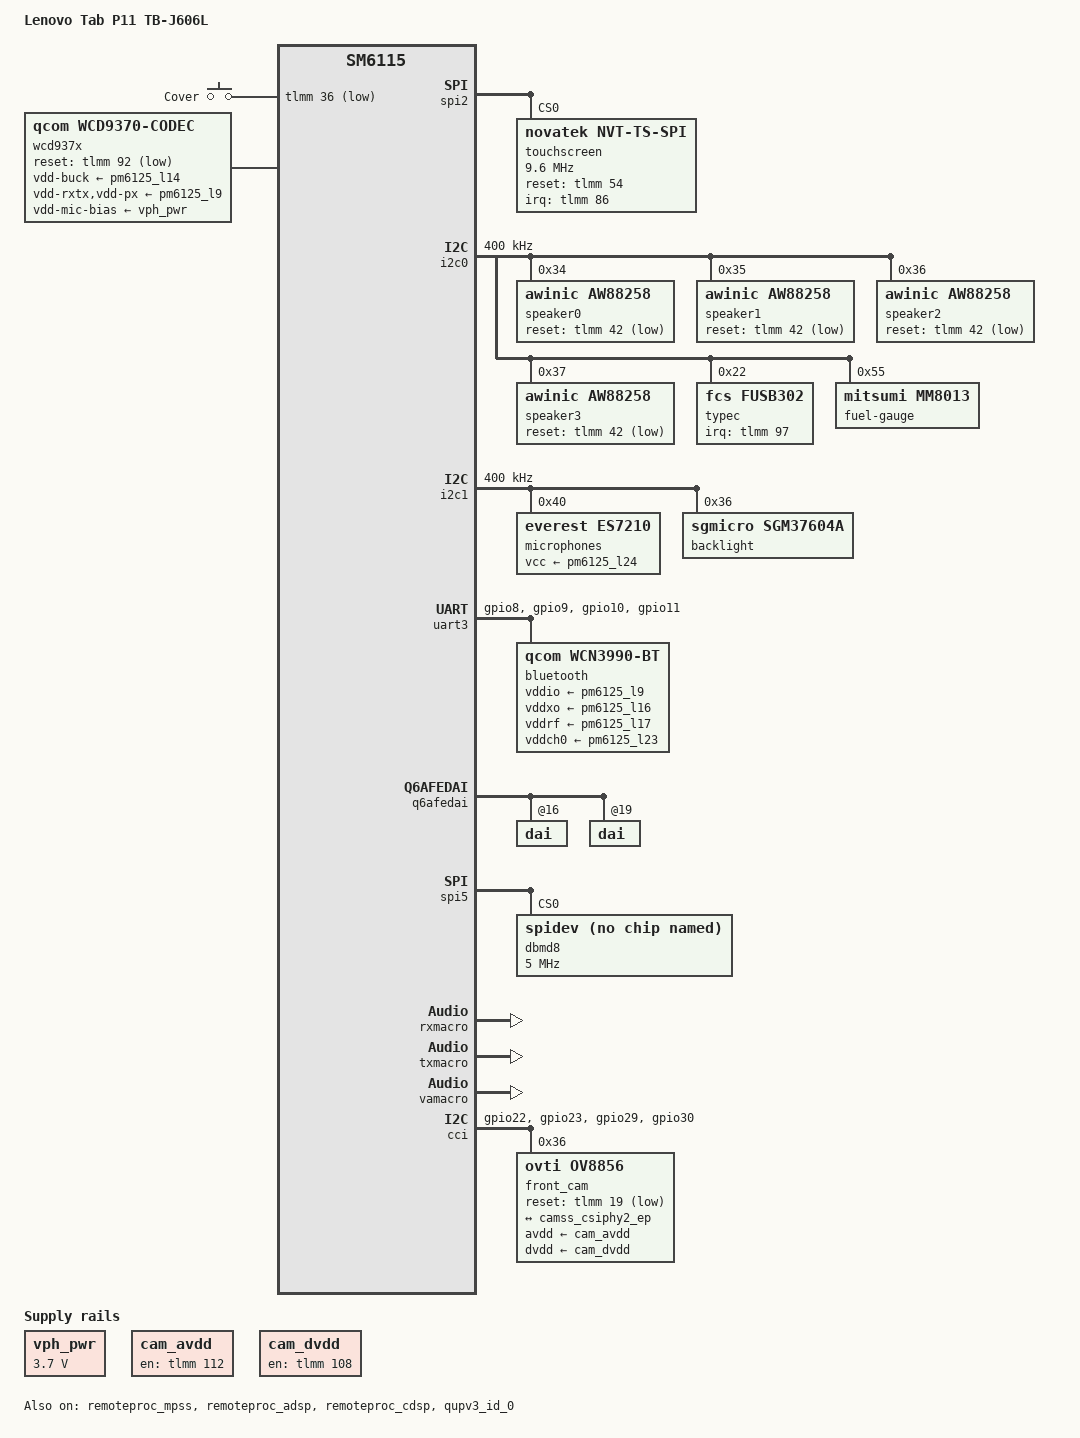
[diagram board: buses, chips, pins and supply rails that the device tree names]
// SPDX-License-Identifier: BSD-3-Clause
/* Lenovo Tab P11 TB-J606L (LTE). Derived from the upstream J606F tree. */
#include <dt-bindings/input/gpio-keys.h>
#include <dt-bindings/sound/qcom,q6afe.h>
#include <dt-bindings/sound/qcom,q6asm.h>
#include <dt-bindings/usb/pd.h>
#include "sm6115p-lenovo-j606f.dts"

/ {
	model = "Lenovo Tab P11 TB-J606L";
	compatible = "lenovo,j606l", "qcom,sm6115p", "qcom,sm6115";
	/* Measured on the lab unit: SoC 444, platform 0x10000; board 34/3. */
	qcom,msm-id = <444 0x10000>;
	qcom,board-id = <34 3>;

	aliases {
		serial1 = &uart3;
	};

	/* Four AW88258 speaker amplifiers on the LPASS primary MI2S port
	 * (data line 1). The microphones come from the DBMD8 voice processor on
	 * the secondary port (data line 1, the DBMD8 drives the clocks); the
	 * WCD937x biases them while something records. */
	sound {
		compatible = "qcom,qrb4210-rb2-sndcard";
		model = "Lenovo-TB-J606L";
		pinctrl-0 = <&lpi_i2s1_active>, <&lpi_i2s2_active>;
		pinctrl-names = "default";
		/* The analog microphones on the DBMD8 take their bias from the
		 * WCD937x: on while anything records from them. */
		aux-devs = <&wcd937x>;
		audio-routing = "MIC", "MIC BIAS1",
				"MIC", "MIC BIAS3";

		mm1-dai-link {
			link-name = "MultiMedia1";

			cpu {
				sound-dai = <&q6asmdai MSM_FRONTEND_DAI_MULTIMEDIA1>;
			};
		};

		mm2-dai-link {
			link-name = "MultiMedia2";

			cpu {
				sound-dai = <&q6asmdai MSM_FRONTEND_DAI_MULTIMEDIA2>;
			};
		};

		speaker-dai-link {
			link-name = "Speaker Playback";

			cpu {
				sound-dai = <&q6afedai PRIMARY_MI2S_RX>;
			};

			platform {
				sound-dai = <&q6routing>;
			};

			codec {
				sound-dai = <&speaker0>, <&speaker1>, <&speaker2>, <&speaker3>;
			};
		};

		mic-dai-link {
			link-name = "Mic Capture";

			cpu {
				sound-dai = <&q6afedai SECONDARY_MI2S_TX>;
			};

			platform {
				sound-dai = <&q6routing>;
			};

			codec {
				sound-dai = <&microphones>;
			};
		};
	};

	/* Hall sensor for the folio cover, as the stock hall_switch. */
	gpio-keys-lid {
		compatible = "gpio-keys";
		pinctrl-0 = <&hall_int_default>;
		pinctrl-names = "default";

		switch-lid {
			label = "Cover";
			gpios = <&tlmm 36 GPIO_ACTIVE_LOW>;
			linux,input-type = <EV_SW>;
			linux,code = <SW_LID>;
			debounce-interval = <15>;
			wakeup-source;
			/* Wake when the cover opens, not on the closing edge. */
			wakeup-event-action = <EV_ACT_DEASSERTED>;
		};
	};
};

/* Only the HS PHY is wired. Without UTMI as the pipe clock the core comes
 * up only after a fastboot session left it clocked (26 October 2026). */
&usb { qcom,select-utmi-as-pipe-clk; };

/* The modem runs the WLAN firmware. haltia-firmware copies the stock split
 * images from modem_b; rmtfs serves copies of the EFS partitions read-only. */
&remoteproc_mpss {
	firmware-name = "qcom/sm6115/LENOVO/J606L/modem.mdt";
	status = "okay";
};

/* Display through MSM DRM and the upstream J606F panel driver (the J606L
 * has the same BOE NT36523W, as its stock command line names). simplefb
 * shows the bootloader picture until msm takes over. The GPU loads the
 * stock zap shader that haltia-firmware copies from vendor_b. */
&gpu_zap_shader {
	firmware-name = "qcom/sm6115/LENOVO/J606L/a610_zap.mdt";
};

/* ADSP runs the audio services (APR: q6afe, q6asm) and the sensors; CDSP
 * is the compute DSP. Both boot the stock split images from modem_b. */
&remoteproc_adsp {
	firmware-name = "qcom/sm6115/LENOVO/J606L/adsp.mdt";
	status = "okay";
};

&remoteproc_cdsp {
	firmware-name = "qcom/sm6115/LENOVO/J606L/cdsp.mdt";
	status = "okay";
};

/* Touch: Novatek NT36523 (TDDI, no flash) on QUP SE2 SPI, chip select 1,
 * as in the stock overlay. The driver loads novatek_ts_fw.bin from the
 * stock vendor partition at every start. */
&qupv3_id_0 { status = "okay"; };

&spi2 {
	/* GPI DMA transfers stalled the touch thread in spi_transfer_one_message;
	 * without dmas the GENI controller uses FIFO and SE DMA. */
	/delete-property/ dmas;
	/delete-property/ dma-names;
	status = "okay";

	touchscreen@0 {
		compatible = "novatek,NVT-ts-spi";
		reg = <0>;
		/* The NT36523W is touch and display in one: turning the panel off
		 * resets the touch side, so the driver follows the panel and loads
		 * the touch firmware again whenever it comes back on. */
		panel = <&panel>;
		spi-max-frequency = <9600000>;
		interrupts-extended = <&tlmm 86 IRQ_TYPE_EDGE_RISING>;
		reset-gpios = <&tlmm 54 GPIO_ACTIVE_HIGH>;
		irq-gpios = <&tlmm 86 GPIO_ACTIVE_HIGH>;
		firmware-name = "novatek_ts_fw.bin";
		pinctrl-0 = <&ts_int_default>;
		pinctrl-names = "default";
		novatek,swrst-n8-addr = <0x3f0fe>;
		novatek,spi-rd-fast-addr = <0x3f310>;
		novatek,event-buf-addr = <0x2fe00>;
		novatek,coords-12bit;
		/* A double tap wakes the tablet from sleep (gesture mode). */
		novatek,double-tap-wake;
		touchscreen-size-x = <1200>;
		touchscreen-size-y = <2000>;
	};
};

&tlmm {
	/* The stock "pmx_ts_int_active": the interrupt line needs a pull-up. */
	ts_int_default: ts-int-default-state {
		pins = "gpio86";
		function = "gpio";
		drive-strength = <8>;
		bias-pull-up;
	};
};

/* Battery gauge on QUP SE0 I2C, as in the stock overlay. GENI I2C needs
 * its GPI DMA channels to probe. */
&gpi_dma0 { status = "okay"; };

&i2c0 {
	clock-frequency = <400000>;
	status = "okay";

	/* The amplifiers share reset GPIO 42; awinic,channel picks each one's
	 * section of the stock ACF profile (left/right on SD0, then SD1). */
	speaker0: audio-codec@34 {
		compatible = "awinic,aw88258";
		reg = <0x34>;
		reset-gpios = <&tlmm 42 GPIO_ACTIVE_LOW>;
		awinic,channel = <0>;
		sound-name-prefix = "Speaker 0";
		#sound-dai-cells = <0>;
	};

	speaker1: audio-codec@35 {
		compatible = "awinic,aw88258";
		reg = <0x35>;
		reset-gpios = <&tlmm 42 GPIO_ACTIVE_LOW>;
		awinic,channel = <1>;
		sound-name-prefix = "Speaker 1";
		#sound-dai-cells = <0>;
	};

	speaker2: audio-codec@36 {
		compatible = "awinic,aw88258";
		reg = <0x36>;
		reset-gpios = <&tlmm 42 GPIO_ACTIVE_LOW>;
		awinic,channel = <2>;
		sound-name-prefix = "Speaker 2";
		#sound-dai-cells = <0>;
	};

	speaker3: audio-codec@37 {
		compatible = "awinic,aw88258";
		reg = <0x37>;
		reset-gpios = <&tlmm 42 GPIO_ACTIVE_LOW>;
		awinic,channel = <3>;
		sound-name-prefix = "Speaker 3";
		#sound-dai-cells = <0>;
	};

	/* USB-C port controller, as the stock fusb302@22. A sink only for now:
	 * its power supply tells the shell when a charger is plugged in. */
	typec@22 {
		compatible = "fcs,fusb302";
		reg = <0x22>;
		interrupts-extended = <&tlmm 97 IRQ_TYPE_LEVEL_LOW>;
		pinctrl-0 = <&fusb302_int_default>;
		pinctrl-names = "default";

		connector {
			compatible = "usb-c-connector";
			label = "USB-C";
			power-role = "sink";
			data-role = "device";
			self-powered;
			sink-pdos = <PDO_FIXED(5000, 2000, PDO_FIXED_USB_COMM)>;
			op-sink-microwatt = <10000000>;
		};
	};

	fuel-gauge@55 {
		compatible = "mitsumi,mm8013";
		reg = <0x55>;
	};
};

/* Backlight: SGM37604A on QUP SE1 I2C; PMI632 GPIO 6 enables it (the
 * bootloader leaves it on). */
&i2c1 {
	clock-frequency = <400000>;
	status = "okay";

	/* An ADC on the secondary MI2S data line 0 (Lenovo's AEC reference path,
	 * not the microphones); vcc is L24, shared with the UFS. */
	microphones: audio-codec@40 {
		compatible = "everest,es7210";
		reg = <0x40>;
		vcc-supply = <&pm6125_l24>;
		#sound-dai-cells = <0>;
	};

	backlight@36 {
		compatible = "sgmicro,sgm37604a";
		reg = <0x36>;
	};
};

/* Bluetooth: the WCN3990 on QUP SE3 high-speed UART, supplies as in the
 * stock bt_wcn3990 node. Firmware comes from linux-firmware-qca. */
&uart3 {
	interrupts-extended = <&intc GIC_SPI 330 IRQ_TYPE_LEVEL_HIGH>,
			      <&tlmm 11 IRQ_TYPE_EDGE_FALLING>;
	pinctrl-0 = <&uart3_default>;
	pinctrl-1 = <&uart3_sleep>;
	pinctrl-names = "default", "sleep";
	status = "okay";

	bluetooth {
		compatible = "qcom,wcn3990-bt";
		vddio-supply = <&pm6125_l9>;
		vddxo-supply = <&pm6125_l16>;
		vddrf-supply = <&pm6125_l17>;
		vddch0-supply = <&pm6125_l23>;
		max-speed = <3200000>;
	};
};

&tlmm {
	fusb302_int_default: fusb302-int-default-state {
		pins = "gpio97";
		function = "gpio";
		drive-strength = <2>;
		bias-pull-up;
	};

	hall_int_default: hall-int-default-state {
		pins = "gpio36";
		function = "gpio";
		drive-strength = <6>;
		bias-pull-up;
	};

	uart3_default: uart3-default-state {
		cts-pins {
			pins = "gpio8";
			function = "qup3";
			drive-strength = <2>;
			bias-bus-hold;
		};

		rts-pins {
			pins = "gpio9";
			function = "qup3";
			drive-strength = <2>;
			bias-disable;
		};

		tx-pins {
			pins = "gpio10";
			function = "qup3";
			drive-strength = <2>;
			bias-disable;
		};

		rx-pins {
			pins = "gpio11";
			function = "qup3";
			drive-strength = <2>;
			bias-pull-up;
		};
	};

	uart3_sleep: uart3-sleep-state {
		cts-pins {
			pins = "gpio8";
			function = "gpio";
			drive-strength = <2>;
			bias-bus-hold;
		};

		rts-pins {
			pins = "gpio9";
			function = "gpio";
			drive-strength = <2>;
			bias-pull-down;
		};

		tx-pins {
			pins = "gpio10";
			function = "gpio";
			drive-strength = <2>;
			bias-pull-up;
		};

		rx-pins {
			pins = "gpio11";
			function = "gpio";
			drive-strength = <2>;
			bias-pull-up;
		};
	};
};

&q6afedai {
	dai@16 {
		reg = <PRIMARY_MI2S_RX>;
		qcom,sd-lines = <1>;
	};

	dai@19 {
		reg = <SECONDARY_MI2S_TX>;
		qcom,sd-lines = <1>;
	};
};

&lpass_tlmm {
	lpi_i2s2_active: lpi-i2s2-active-state {
		sck-pins {
			pins = "gpio10";
			function = "i2s2_clk";
			drive-strength = <8>;
			bias-disable;
		};

		ws-pins {
			pins = "gpio11";
			function = "i2s2_ws";
			drive-strength = <8>;
			bias-disable;
		};

		data-pins {
			pins = "gpio12", "gpio13";
			function = "i2s2_data";
			drive-strength = <8>;
			bias-disable;
		};
	};

	lpi_i2s1_active: lpi-i2s1-active-state {
		sck-pins {
			pins = "gpio6";
			function = "i2s1_clk";
			drive-strength = <8>;
			bias-disable;
			output-high;
		};

		ws-pins {
			pins = "gpio7";
			function = "i2s1_ws";
			drive-strength = <8>;
			bias-disable;
			output-high;
		};

		data-pins {
			pins = "gpio8", "gpio9";
			function = "i2s1_data";
			drive-strength = <8>;
			bias-disable;
			output-high;
		};
	};
};

/* The touch half of the TDDI chip needs it powered and out of reset while
 * the display sleeps, to see the double tap that wakes the tablet. */
&panel {
	novatek,tddi-touch-wake;
};

/* The DSP Group DBMD8 voice processor in front of the microphones. There is
 * no kernel driver yet: haltia-dbmd8 drives it through spidev. */
&spi5 {
	status = "okay";

	dbmd8@0 {
		compatible = "rohm,dh2228fv";
		reg = <0>;
		spi-max-frequency = <5000000>;
	};
};

/* J606F reserves gpio14-17; on the J606L they are SPI5 to the DBMD8 voice
 * processor, as the stock kernel uses them. */
&tlmm {
	/delete-property/ gpio-reserved-ranges;
};

/* LPASS codec macros and SoundWire, as for the QRB4210 RB2 (Alexey Klimov's
 * sm6115 LPASS series), for the WCD937x. */
&soc {
	rxmacro: codec@a600000 {
		compatible = "qcom,sm6115-lpass-rx-macro";
		reg = <0x0 0xa600000 0x0 0x1000>;
		clocks = <&q6afecc LPASS_CLK_ID_RX_CORE_MCLK LPASS_CLK_ATTRIBUTE_COUPLE_NO>,
			 <&q6afecc LPASS_CLK_ID_RX_CORE_NPL_MCLK LPASS_CLK_ATTRIBUTE_COUPLE_NO>,
			 <&q6afecc LPASS_HW_DCODEC_VOTE LPASS_CLK_ATTRIBUTE_COUPLE_NO>,
			 <&vamacro>;
		clock-names = "mclk", "npl", "dcodec", "fsgen";
		assigned-clocks = <&q6afecc LPASS_CLK_ID_RX_CORE_MCLK LPASS_CLK_ATTRIBUTE_COUPLE_NO>,
				  <&q6afecc LPASS_CLK_ID_RX_CORE_NPL_MCLK LPASS_CLK_ATTRIBUTE_COUPLE_NO>;
		assigned-clock-rates = <22579200>, <22579200>;
		#clock-cells = <0>;
		clock-output-names = "mclk";
		#sound-dai-cells = <1>;
	};

	swr1: soundwire@a610000 {
		compatible = "qcom,soundwire-v1.6.0";
		reg = <0x0 0x0a610000 0x0 0x2000>;
		interrupts = <GIC_SPI 297 IRQ_TYPE_LEVEL_HIGH>;
		clocks = <&rxmacro>;
		clock-names = "iface";
		resets = <&lpass_audiocc 0>;
		reset-names = "swr_audio_cgcr";
		pinctrl-0 = <&lpass_rx_swr_active>;
		pinctrl-names = "default";
		label = "RX";
		qcom,din-ports = <0>;
		qcom,dout-ports = <5>;
		qcom,ports-sinterval-low =	/bits/ 8 <0x03 0x1f 0x1f 0x07 0x00>;
		qcom,ports-offset1 =		/bits/ 8 <0x00 0x00 0x0b 0x01 0x00>;
		qcom,ports-offset2 =		/bits/ 8 <0x00 0x00 0x0b 0x00 0x00>;
		qcom,ports-hstart =		/bits/ 8 <0xff 0x03 0xff 0xff 0xff>;
		qcom,ports-hstop =		/bits/ 8 <0xff 0x06 0xff 0xff 0xff>;
		qcom,ports-word-length =	/bits/ 8 <0x01 0x07 0x04 0xff 0xff>;
		qcom,ports-block-pack-mode =	/bits/ 8 <0xff 0x00 0x01 0xff 0xff>;
		qcom,ports-block-group-count =	/bits/ 8 <0xff 0xff 0xff 0xff 0x00>;
		qcom,ports-lane-control =	/bits/ 8 <0x01 0x00 0x00 0x00 0x00>;
		#sound-dai-cells = <1>;
		#address-cells = <2>;
		#size-cells = <0>;

		wcd937x_rx: codec@0,4 {
			compatible = "sdw20217010a00";
			reg = <0 4>;
			qcom,rx-port-mapping = <1 2 3 4 5>;
		};
	};

	txmacro: codec@a620000 {
		compatible = "qcom,sm6115-lpass-tx-macro";
		reg = <0x0 0x0a620000 0x0 0x1000>;
		clocks = <&q6afecc LPASS_CLK_ID_TX_CORE_MCLK LPASS_CLK_ATTRIBUTE_COUPLE_NO>,
			 <&q6afecc LPASS_CLK_ID_TX_CORE_NPL_MCLK LPASS_CLK_ATTRIBUTE_COUPLE_NO>,
			 <&q6afecc LPASS_HW_DCODEC_VOTE LPASS_CLK_ATTRIBUTE_COUPLE_NO>,
			 <&vamacro>;
		clock-names = "mclk", "npl", "dcodec", "fsgen";
		assigned-clocks = <&q6afecc LPASS_CLK_ID_TX_CORE_MCLK LPASS_CLK_ATTRIBUTE_COUPLE_NO>,
				  <&q6afecc LPASS_CLK_ID_TX_CORE_NPL_MCLK LPASS_CLK_ATTRIBUTE_COUPLE_NO>;
		assigned-clock-rates = <19200000>, <19200000>;
		#clock-cells = <0>;
		clock-output-names = "mclk";
		#sound-dai-cells = <1>;
	};

	lpass_audiocc: clock-controller@a6a9000 {
		compatible = "qcom,sm6115-lpassaudiocc";
		reg = <0x0 0x0a6a9000 0x0 0x1000>;
		#reset-cells = <1>;
	};

	vamacro: codec@a730000 {
		compatible = "qcom,sm6115-lpass-va-macro";
		reg = <0x0 0x0a730000 0x0 0x1000>;
		clocks = <&q6afecc LPASS_CLK_ID_TX_CORE_MCLK LPASS_CLK_ATTRIBUTE_COUPLE_NO>,
			 <&q6afecc LPASS_HW_DCODEC_VOTE LPASS_CLK_ATTRIBUTE_COUPLE_NO>,
			 <&q6afecc LPASS_CLK_ID_TX_CORE_NPL_MCLK LPASS_CLK_ATTRIBUTE_COUPLE_NO>;
		clock-names = "mclk", "dcodec", "npl";
		assigned-clocks = <&q6afecc LPASS_CLK_ID_TX_CORE_MCLK LPASS_CLK_ATTRIBUTE_COUPLE_NO>,
				  <&q6afecc LPASS_CLK_ID_TX_CORE_NPL_MCLK LPASS_CLK_ATTRIBUTE_COUPLE_NO>;
		assigned-clock-rates = <19200000>, <19200000>;
		#clock-cells = <0>;
		clock-output-names = "fsgen";
		#sound-dai-cells = <1>;
	};

	swr0: soundwire@a740000 {
		compatible = "qcom,soundwire-v1.6.0";
		reg = <0x0 0x0a740000 0x0 0x2000>;
		interrupts = <GIC_SPI 296 IRQ_TYPE_LEVEL_HIGH>,
			     <GIC_SPI 79 IRQ_TYPE_LEVEL_HIGH>;
		clocks = <&txmacro>;
		clock-names = "iface";
		resets = <&lpasscc 0>;
		reset-names = "swr_audio_cgcr";
		pinctrl-0 = <&lpass_tx_swr_active>;
		pinctrl-names = "default";
		label = "VA_TX";
		qcom,din-ports = <3>;
		qcom,dout-ports = <0>;
		qcom,ports-sinterval-low =	/bits/ 8 <0x03 0x03 0x03>;
		qcom,ports-offset1 =		/bits/ 8 <0x01 0x02 0x01>;
		qcom,ports-offset2 =		/bits/ 8 <0x00 0x00 0x00>;
		qcom,ports-hstart =		/bits/ 8 <0xff 0xff 0xff>;
		qcom,ports-hstop =		/bits/ 8 <0xff 0xff 0xff>;
		qcom,ports-word-length =	/bits/ 8 <0xff 0xff 0xff>;
		qcom,ports-block-pack-mode =	/bits/ 8 <0xff 0xff 0xff>;
		qcom,ports-block-group-count =	/bits/ 8 <0xff 0xff 0xff>;
		qcom,ports-lane-control =	/bits/ 8 <0x00 0x00 0x00>;
		#sound-dai-cells = <1>;
		#address-cells = <2>;
		#size-cells = <0>;

		wcd937x_tx: codec@0,3 {
			compatible = "sdw20217010a00";
			reg = <0 3>;
			qcom,tx-port-mapping = <1 1 2 3>;
		};
	};

	lpasscc: clock-controller@a7ec000 {
		compatible = "qcom,sm6115-lpasscc";
		reg = <0x0 0x0a7ec000 0x0 0x1000>;
		#reset-cells = <1>;
	};
};

/ {
	/* The battery rail; the WCD937x makes the mic bias from it. */
	vph_pwr: regulator-vph-pwr {
		compatible = "regulator-fixed";
		regulator-name = "vph_pwr";
		regulator-min-microvolt = <3700000>;
		regulator-max-microvolt = <3700000>;
		regulator-always-on;
		regulator-boot-on;
	};

	wcd937x: codec {
		compatible = "qcom,wcd9370-codec";
		pinctrl-0 = <&wcd_reset_n>;
		pinctrl-names = "default";
		reset-gpios = <&tlmm 92 GPIO_ACTIVE_LOW>;
		vdd-buck-supply = <&pm6125_l14>;
		vdd-rxtx-supply = <&pm6125_l9>;
		vdd-px-supply = <&pm6125_l9>;
		vdd-mic-bias-supply = <&vph_pwr>;
		qcom,micbias1-microvolt = <1800000>;
		qcom,micbias2-microvolt = <1800000>;
		qcom,micbias3-microvolt = <1800000>;
		qcom,micbias4-microvolt = <1800000>;
		qcom,mbhc-buttons-vthreshold-microvolt = <75000 150000 237000 500000 500000 500000 500000 500000>;
		qcom,rx-device = <&wcd937x_rx>;
		qcom,tx-device = <&wcd937x_tx>;
		#sound-dai-cells = <1>;
	};
};

&tlmm {
	wcd_reset_n: wcd-reset-n-state {
		pins = "gpio92";
		function = "gpio";
		drive-strength = <16>;
		output-high;
	};
};

&lpass_tlmm {
	lpass_tx_swr_active: lpass-tx-swr-active-state {
		clk-pins {
			pins = "gpio0";
			function = "swr_tx_clk";
			drive-strength = <10>;
			slew-rate = <3>;
			bias-disable;
		};

		data-pins {
			pins = "gpio1", "gpio2";
			function = "swr_tx_data";
			drive-strength = <10>;
			slew-rate = <3>;
			bias-bus-hold;
		};
	};

	lpass_rx_swr_active: lpass-rx-swr-active-state {
		clk-pins {
			pins = "gpio3";
			function = "swr_rx_clk";
			drive-strength = <10>;
			slew-rate = <3>;
			bias-disable;
		};

		data-pins {
			pins = "gpio4", "gpio5";
			function = "swr_rx_data";
			drive-strength = <10>;
			slew-rate = <3>;
			bias-bus-hold;
		};
	};
};

/* Cameras: the front OV8856 on CCI master 1 and CSIPHY2. GPIOs 112 and
 * 108 power both sensors (patch 0009 lets the TLMM drive them). */
/ {
	cam_avdd: regulator-cam-avdd {
		compatible = "regulator-fixed";
		regulator-name = "cam_avdd";
		gpio = <&tlmm 112 GPIO_ACTIVE_HIGH>;
		enable-active-high;
		startup-delay-us = <1000>;
	};

	cam_dvdd: regulator-cam-dvdd {
		compatible = "regulator-fixed";
		regulator-name = "cam_dvdd";
		gpio = <&tlmm 108 GPIO_ACTIVE_HIGH>;
		enable-active-high;
		startup-delay-us = <1000>;
	};
};

&soc {
	cci: cci@5c1b000 {
		compatible = "qcom,qcm2290-cci", "qcom,msm8996-cci";
		reg = <0x0 0x5c1b000 0x0 0x1000>;
		interrupts = <GIC_SPI 206 IRQ_TYPE_EDGE_RISING>;
		clocks = <&gcc GCC_CAMSS_TOP_AHB_CLK>, <&gcc GCC_CAMSS_CCI_0_CLK>;
		clock-names = "ahb", "cci";
		assigned-clocks = <&gcc GCC_CAMSS_CCI_0_CLK>;
		assigned-clock-rates = <37500000>;
		power-domains = <&gcc GCC_CAMSS_TOP_GDSC>;
		pinctrl-0 = <&cci0_default &cci1_default>;
		pinctrl-names = "default";
		#address-cells = <1>;
		#size-cells = <0>;

		cci_i2c0: i2c-bus@0 {
			reg = <0>;
			clock-frequency = <400000>;
			#address-cells = <1>;
			#size-cells = <0>;
		};

		cci_i2c1: i2c-bus@1 {
			reg = <1>;
			clock-frequency = <400000>;
			#address-cells = <1>;
			#size-cells = <0>;

			front_cam: camera@36 {
				compatible = "ovti,ov8856";
				reg = <0x36>;
				clocks = <&gcc GCC_CAMSS_MCLK2_CLK>;
				clock-names = "xvclk";
				assigned-clocks = <&gcc GCC_CAMSS_MCLK2_CLK>;
				assigned-clock-rates = <19200000>;
				pinctrl-0 = <&mclk2_default>;
				pinctrl-names = "default";
				reset-gpios = <&tlmm 19 GPIO_ACTIVE_LOW>;
				orientation = <0>;
				/* haltia_kit turns the picture by this and by the screen's
				 * rotation, then mirrors it. Checked on the tablet: 0 left the
				 * picture's top to the right in landscape, 270 upside down. */
				rotation = <90>;
				avdd-supply = <&cam_avdd>;
				dvdd-supply = <&cam_dvdd>;

				port {
					front_cam_ep: endpoint {
						data-lanes = <1 2 3 4>;
						link-frequencies = /bits/ 64 <360000000 180000000>;
						remote-endpoint = <&camss_csiphy2_ep>;
					};
				};
			};
		};
	};

	camss: camss@5c11000 {
		compatible = "qcom,sm6115-camss";
		reg = <0x0 0x5c11000 0x0 0x1000>,
		      <0x0 0x5c6e000 0x0 0x1000>,
		      <0x0 0x5c75000 0x0 0x1000>,
		      <0x0 0x5c52000 0x0 0x1000>,
		      <0x0 0x5c53000 0x0 0x1000>,
		      <0x0 0x5c54000 0x0 0x1000>,
		      <0x0 0x5c66000 0x0 0x400>,
		      <0x0 0x5c68000 0x0 0x400>,
		      <0x0 0x5c6f000 0x0 0x4000>,
		      <0x0 0x5c76000 0x0 0x4000>;
		reg-names = "top", "csid0", "csid1", "csiphy0", "csiphy1", "csiphy2",
			    "csitpg0", "csitpg1", "vfe0", "vfe1";
		clocks = <&gcc GCC_CAMERA_AHB_CLK>,
			 <&gcc GCC_CAMSS_AXI_CLK>,
			 <&gcc GCC_CAMSS_NRT_AXI_CLK>,
			 <&gcc GCC_CAMSS_RT_AXI_CLK>,
			 <&gcc GCC_CAMSS_TFE_0_CSID_CLK>,
			 <&gcc GCC_CAMSS_TFE_1_CSID_CLK>,
			 <&gcc GCC_CAMSS_CPHY_0_CLK>,
			 <&gcc GCC_CAMSS_CSI0PHYTIMER_CLK>,
			 <&gcc GCC_CAMSS_CPHY_1_CLK>,
			 <&gcc GCC_CAMSS_CSI1PHYTIMER_CLK>,
			 <&gcc GCC_CAMSS_CPHY_2_CLK>,
			 <&gcc GCC_CAMSS_CSI2PHYTIMER_CLK>,
			 <&gcc GCC_CAMSS_TOP_AHB_CLK>,
			 <&gcc GCC_CAMSS_TFE_0_CLK>,
			 <&gcc GCC_CAMSS_TFE_0_CPHY_RX_CLK>,
			 <&gcc GCC_CAMSS_TFE_1_CLK>,
			 <&gcc GCC_CAMSS_TFE_1_CPHY_RX_CLK>;
		clock-names = "ahb", "axi", "camnoc_nrt_axi", "camnoc_rt_axi",
			      "csi0", "csi1", "csiphy0", "csiphy0_timer",
			      "csiphy1", "csiphy1_timer", "csiphy2", "csiphy2_timer",
			      "top_ahb", "vfe0", "vfe0_cphy_rx", "vfe1", "vfe1_cphy_rx";
		interrupts = <GIC_SPI 210 IRQ_TYPE_EDGE_RISING>,
			     <GIC_SPI 212 IRQ_TYPE_EDGE_RISING>,
			     <GIC_SPI 72 IRQ_TYPE_EDGE_RISING>,
			     <GIC_SPI 73 IRQ_TYPE_EDGE_RISING>,
			     <GIC_SPI 74 IRQ_TYPE_EDGE_RISING>,
			     <GIC_SPI 309 IRQ_TYPE_EDGE_RISING>,
			     <GIC_SPI 310 IRQ_TYPE_EDGE_RISING>,
			     <GIC_SPI 211 IRQ_TYPE_EDGE_RISING>,
			     <GIC_SPI 213 IRQ_TYPE_EDGE_RISING>;
		interrupt-names = "csid0", "csid1", "csiphy0", "csiphy1", "csiphy2",
				  "csitpg0", "csitpg1", "vfe0", "vfe1";
		interconnects = <&bimc MASTER_AMPSS_M0 RPM_ACTIVE_TAG
				 &config_noc SLAVE_CAMERA_CFG RPM_ACTIVE_TAG>,
				<&mmrt_virt MASTER_CAMNOC_HF RPM_ALWAYS_TAG
				 &bimc SLAVE_EBI_CH0 RPM_ALWAYS_TAG>,
				<&mmnrt_virt MASTER_CAMNOC_SF RPM_ALWAYS_TAG
				 &bimc SLAVE_EBI_CH0 RPM_ALWAYS_TAG>;
		interconnect-names = "ahb", "hf_mnoc", "sf_mnoc";
		iommus = <&apps_smmu 0x400 0x0>,
			 <&apps_smmu 0x800 0x0>,
			 <&apps_smmu 0x820 0x0>,
			 <&apps_smmu 0x840 0x0>;
		power-domains = <&gcc GCC_CAMSS_TOP_GDSC>;

		ports {
			#address-cells = <1>;
			#size-cells = <0>;

			port@2 {
				reg = <2>;

				camss_csiphy2_ep: endpoint {
					data-lanes = <0 1 2 3>;
					remote-endpoint = <&front_cam_ep>;
				};
			};
		};
	};
};

&tlmm {
	cci0_default: cci0-default-state {
		pins = "gpio22", "gpio23";
		function = "cci_i2c";
		drive-strength = <2>;
		bias-pull-up;
	};

	cci1_default: cci1-default-state {
		pins = "gpio29", "gpio30";
		function = "cci_i2c";
		drive-strength = <2>;
		bias-pull-up;
	};

	mclk2_default: mclk2-default-state {
		pins = "gpio27";
		function = "cam_mclk";
		drive-strength = <6>;
		bias-disable;
	};
};
